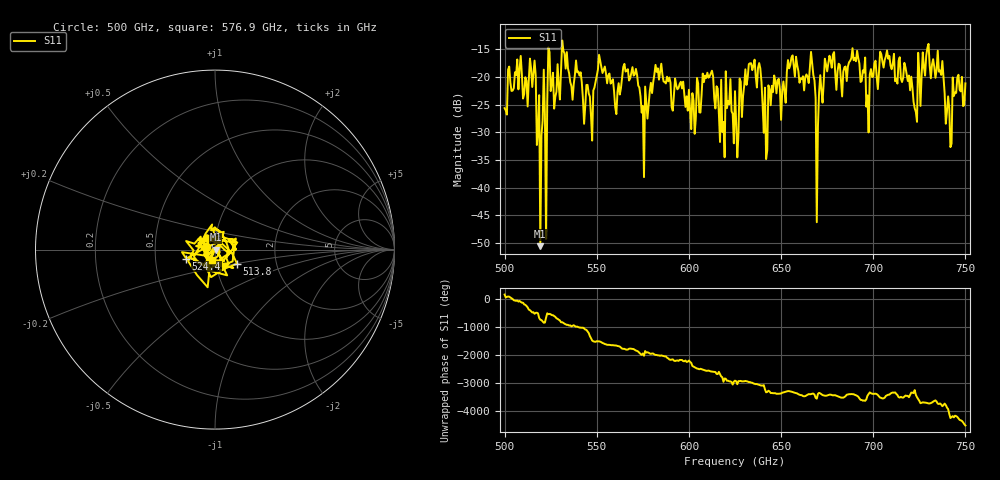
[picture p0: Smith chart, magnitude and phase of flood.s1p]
!Created with skrf (http://scikit-rf.org).
# GHz S MA R 50.0
!freq magS11 angS11
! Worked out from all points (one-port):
!   401 points, 500 GHz to 750 GHz, reference 50 ohm
!   lowest |S11| = -50.6 dB at 519.4 GHz (marker M1), VSWR 1.01, Z = 50.3 - j0.068 ohm
!   |S11| at or under -10 dB: start of sweep to end of sweep
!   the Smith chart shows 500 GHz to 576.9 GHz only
!   S11 on the Smith chart (normalised r, x): 500 GHz: 0.90, +0.02; 513.8 GHz: 1.26, -0.20; 524.4 GHz: 0.72, -0.07; 576.9 GHz: 0.96, -0.11
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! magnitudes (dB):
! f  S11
! 500 GHz  -25.6
! 513.8 GHz  -16.7
! 519.4 GHz  -50.6
! 524.4 GHz  -15.5
! 531.2 GHz  -13.4
! 546.9 GHz  -27.1
! 551.2 GHz  -16.0
! 562.5 GHz  -23.2
! 570.6 GHz  -19.5
! 576.9 GHz  -24.6
! 581.9 GHz  -17.8
! 593.8 GHz  -22.2
! 602.5 GHz  -24.2
! 611.9 GHz  -19.4
! 625 GHz  -22.6
! 633.8 GHz  -17.5
! 641.2 GHz  -21.9
! 656.2 GHz  -16.1
! 666.9 GHz  -17.6
! 669.4 GHz  -46.3
! 675 GHz  -19.0
! 687.5 GHz  -17.1
! 697.5 GHz  -30.0
! 718.8 GHz  -20.7
! 722.5 GHz  -25.7
! 736.2 GHz  -18.8
! 741.2 GHz  -25.7
! 750 GHz  -21.2
